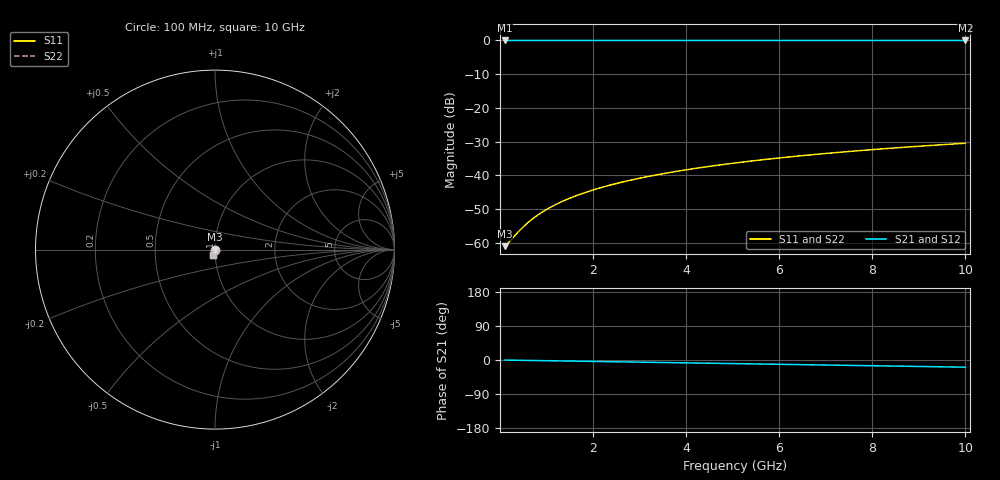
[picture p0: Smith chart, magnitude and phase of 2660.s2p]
# Hz S RI R 50.00
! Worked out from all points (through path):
!   100 points, 100 MHz to 10 GHz, reference 50 ohm
!   highest |S21| = -0.01 dB at 100 MHz (marker M1); lowest = 0.0 dB at 10 GHz (marker M2)
!   group delay of S21, straight-line fit = 5.27 ps
!   lowest |S11| = -61.0 dB at 100 MHz (marker M3), VSWR 1.00, Z = 50.1 - j0.0303 ohm
!   |S11| at or under -10 dB: start of sweep to end of sweep
!   |S22| runs from -61.0 to -30.5 dB; largest |S21 - S12| = 0
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1e8  0.000837 -0.000302  0.9992 -0.00328  0.9992 -0.00328  0.000837 -0.000302
2e8  0.000838 -0.000604  0.9991 -0.00657  0.9991 -0.00657  0.000838 -0.000604
4e8  0.00083 -0.00121  0.9991 -0.0131  0.9991 -0.0131  0.00083 -0.00121
5e8  0.000823 -0.00151  0.999 -0.0164  0.999 -0.0164  0.000823 -0.00151
6e8  0.000813 -0.00181  0.9989 -0.0197  0.9989 -0.0197  0.000813 -0.00181
7e8  0.0008 -0.00212  0.9989 -0.023  0.9989 -0.023  0.0008 -0.00212
8e8  0.000786 -0.00242  0.9988 -0.0263  0.9988 -0.0263  0.000786 -0.00242
1e9  0.000751 -0.00302  0.9986 -0.0328  0.9986 -0.0328  0.000751 -0.00302
1.2e9  0.000708 -0.00363  0.9983 -0.0394  0.9983 -0.0394  0.000708 -0.00363
1.5e9  0.000627 -0.00453  0.9979 -0.0492  0.9979 -0.0492  0.000627 -0.00453
1.8e9  0.000528 -0.00544  0.9973 -0.0591  0.9973 -0.0591  0.000528 -0.00544
2.1e9  0.000411 -0.00635  0.9967 -0.0689  0.9967 -0.0689  0.000411 -0.00635
2.5e9  0.000226 -0.00755  0.9957 -0.0821  0.9957 -0.0821  0.000226 -0.00755
2.9e9  9.58e-06 -0.00875  0.9945 -0.0952  0.9945 -0.0952  9.58e-06 -0.00875
3.4e9  -0.000306 -0.0103  0.9927 -0.1116  0.9927 -0.1116  -0.000306 -0.0103
4.2e9  -0.000915 -0.0126  0.9894 -0.1377  0.9894 -0.1377  -0.000915 -0.0126
5.1e9  -0.00175 -0.0153  0.9848 -0.1671  0.9848 -0.1671  -0.00175 -0.0153
5.9e9  -0.00263 -0.0176  0.98 -0.1931  0.98 -0.1931  -0.00263 -0.0176
6.7e9  -0.00363 -0.0198  0.9744 -0.2191  0.9744 -0.2191  -0.00363 -0.0198
7.5e9  -0.00474 -0.0221  0.9682 -0.2449  0.9682 -0.2449  -0.00474 -0.0221
8.4e9  -0.00614 -0.0245  0.9603 -0.2738  0.9603 -0.2738  -0.00614 -0.0245
1e10  -0.00896 -0.0285  0.9442 -0.3246  0.9442 -0.3246  -0.00896 -0.0285
